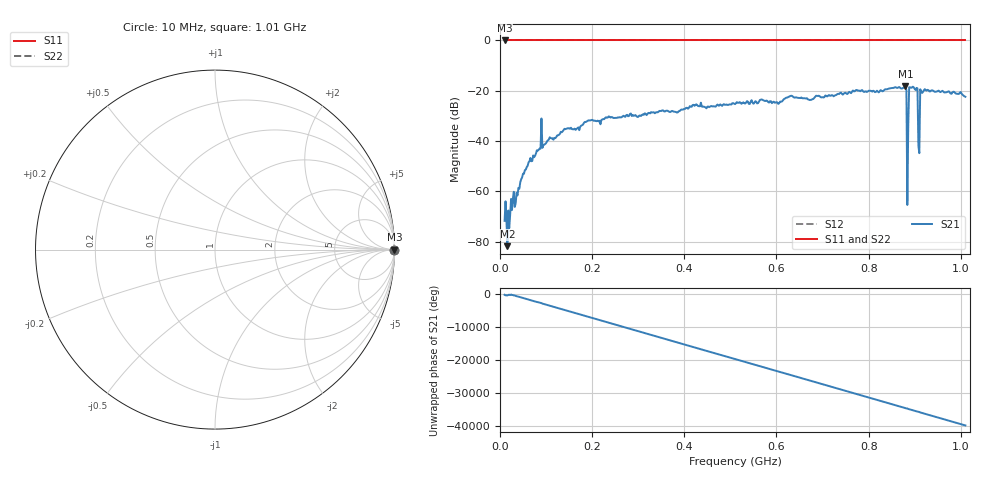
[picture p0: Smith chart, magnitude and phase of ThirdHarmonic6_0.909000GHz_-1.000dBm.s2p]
! 8/16/2025 5:46:12 AM
! C:\ANRITSUVNA\TEMP\TEMP.S2P
! CHANNEL.1
! TR.MEASUREMENT
! RAW.DATA
! RF.CORRECTION.OFF
! AVERAGING.OFF
! IF.BANDWIDTH: 5KHZ
! SWEEPTYPE:  FREQ.SWEEP(Linear)
! Reference Plane Port Info
! PORT:  PORT1  PORT2
! DISTANCE:  0  m  0  m
! TIME:  0  s  0  s
! PHASE.OFFSET:  0  deg.  0  deg.
! LOSS:  0  dB  0  dB
! REF.LOSS:  0  dB  0  dB
! REF.FREQ:  0  Hz  0  Hz
! Power Info
! POWER:  -20  dBm  -20  dBm
! EFF.POWER:  -20  dBm  -20  dBm
! SOURCE.ATTEN:  0  dB  0  dB
! TEST.ATTEN:  0  dB  0  dB
# GHZ S RI R 50.0
! FREQ.GHZ  S11RE  S11IM  S21RE  S21IM  S12RE  S12IM  S22RE  S22IM
!; PortSelection: Port_12
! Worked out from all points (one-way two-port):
!   501 points, 10 MHz to 1.01 GHz, reference 50 ohm
!   highest |S21| = -18.30 dB at 880 MHz (marker M1); lowest = -81.8 dB at 16 MHz (marker M2)
!   lowest |S11| = 0.0 dB at 10 MHz (marker M3)
!   |S11| at or under -10 dB: nowhere
!   |S22| runs from 0.0 to 0.0 dB; largest |S21 - S12| = 1.1
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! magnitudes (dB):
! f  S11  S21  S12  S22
! 10 MHz  0.0  -71.7  0.0  0.0
! 16 MHz  0.0  -81.8  0.0  0.0
! 18 MHz  0.0  -67.6  0.0  0.0
! 26 MHz  0.0  -67.4  0.0  0.0
! 50 MHz  0.0  -53.0  0.0  0.0
! 86 MHz  0.0  -43.0  0.0  0.0
! 178 MHz  0.0  -33.7  0.0  0.0
! 344 MHz  0.0  -28.3  0.0  0.0
! 510 MHz  0.0  -25.3  0.0  0.0
! 678 MHz  0.0  -23.3  0.0  0.0
! 844 MHz  0.0  -19.1  0.0  0.0
! 878 MHz  0.0  -18.6  0.0  0.0
! 880 MHz  0.0  -18.3  0.0  0.0
! 882 MHz  0.0  -19.7  0.0  0.0
! 888 MHz  0.0  -18.6  0.0  0.0
! 890 MHz  0.0  -18.6  0.0  0.0
! 892 MHz  0.0  -18.8  0.0  0.0
! 902 MHz  0.0  -19.7  0.0  0.0
! 906 MHz  0.0  -19.0  0.0  0.0
! 912 MHz  0.0  -19.4  0.0  0.0
! 916 MHz  0.0  -20.9  0.0  0.0
! 1.01 GHz  0.0  -22.4  0.0  0.0
